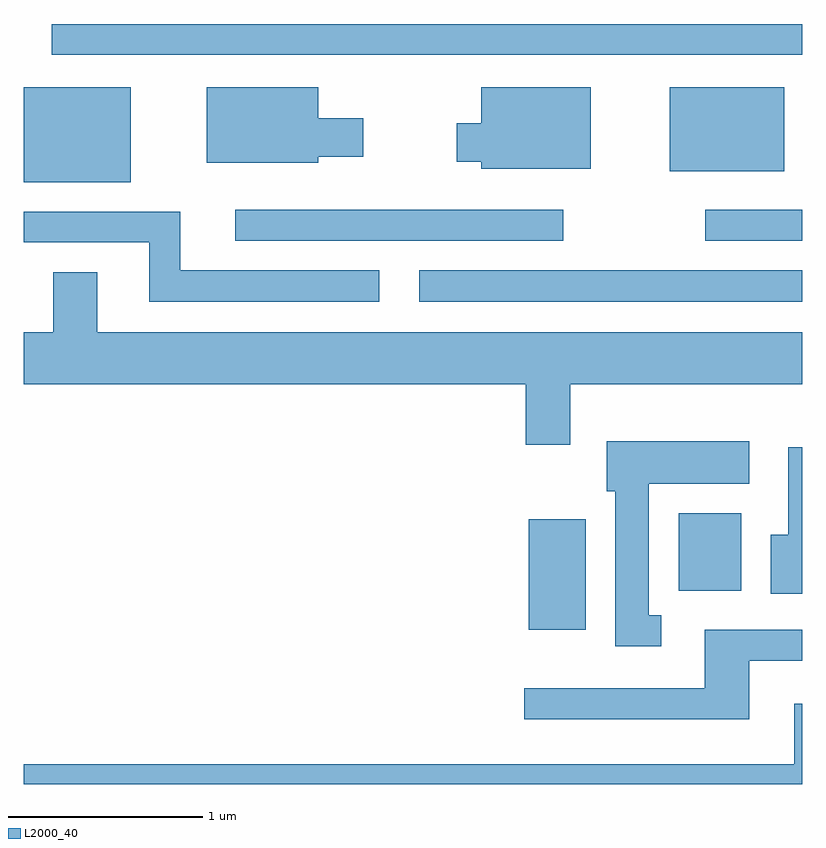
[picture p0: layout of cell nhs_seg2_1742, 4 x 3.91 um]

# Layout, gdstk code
import gdstk
lib = gdstk.Library(unit=1e-6, precision=1e-09)
def R(c, l, rs):  # rectangles x0, y0, x1, y1
    for r in rs: c.add(gdstk.rectangle(r[:2], r[2:], *l))
def P(c, l, *ps):  # polygons
    for p in ps: c.add(gdstk.Polygon(p, *l))
L2000_40 = (2000, 40)

nhs_seg2_1742 = lib.new_cell('nhs_seg2_1742')
R(nhs_seg2_1742, L2000_40, [(238.206,1062.596,238.499,1063.164), (238.976,1062.796,239.299,1063.194), (237.643,1064.281,239.611,1064.444), (236.698,1064.596,238.383,1064.754), (239.113,1064.596,239.611,1064.754), (235.611,1064.896,236.159,1065.384), (238.931,1064.951,239.519,1065.384), (235.753,1065.551,239.611,1065.709)])
P(nhs_seg2_1742, L2000_40, [(238.524,1065.384),(237.961,1065.384),(237.961,1065.199),(237.836,1065.199),(237.836,1065.001),(237.961,1065.001),(237.961,1064.966),(238.524,1064.966)],
  [(237.124,1065.026),(237.354,1065.026),(237.354,1065.224),(237.124,1065.224),(237.124,1065.384),(236.551,1065.384),(236.551,1064.996),(237.124,1064.996)],
  [(237.438,1064.444),(236.414,1064.444),(236.414,1064.744),(235.611,1064.744),(235.611,1064.586),(236.256,1064.586),(236.256,1064.281),(237.438,1064.281)],
  [(238.419,1063.856),(239.611,1063.856),(239.611,1064.124),(235.989,1064.124),(235.989,1064.434),(235.761,1064.434),(235.761,1064.124),(235.611,1064.124),(235.611,1063.856),(238.191,1063.856),(238.191,1063.546),(238.419,1063.546)],
  [(238.888,1062.669),(238.824,1062.669),(238.824,1063.346),(239.339,1063.346),(239.339,1063.564),(238.606,1063.564),(238.606,1063.306),(238.651,1063.306),(238.651,1062.511),(238.888,1062.511)],
  [(239.611,1063.534),(239.541,1063.534),(239.541,1063.084),(239.451,1063.084),(239.451,1062.781),(239.611,1062.781)],
  [(239.339,1062.436),(239.611,1062.436),(239.611,1062.594),(239.111,1062.594),(239.111,1062.294),(238.183,1062.294),(238.183,1062.136),(239.339,1062.136)],
  [(239.611,1062.214),(239.571,1062.214),(239.571,1061.904),(235.611,1061.904),(235.611,1061.802),(239.611,1061.802)])

lib.write_gds('nhs_seg2_1742.gds')
